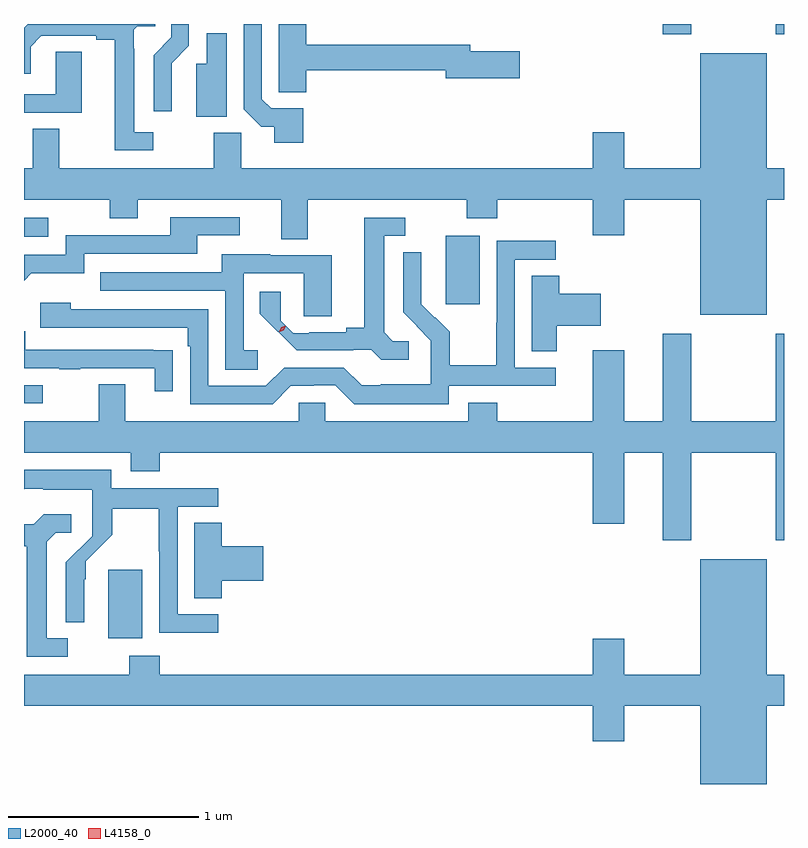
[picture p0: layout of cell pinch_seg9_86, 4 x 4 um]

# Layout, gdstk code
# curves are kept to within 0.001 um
import gdstk
lib = gdstk.Library(unit=1e-6, precision=1e-09)
def R(c, l, rs):  # rectangles x0, y0, x1, y1
    for r in rs: c.add(gdstk.rectangle(r[:2], r[2:], *l))
def P(c, l, *ps):  # polygons
    for p in ps: c.add(gdstk.Polygon(p, *l))
L2000_40 = (2000, 40)
L4158_0 = (4158, 0)

pinch_seg9_86 = lib.new_cell('pinch_seg9_86')
R(pinch_seg9_86, L2000_40, [(1145.252,1200.77,1145.431,1201.132), (1144.808,1202.007,1144.906,1202.103), (1147.028,1202.529,1147.207,1202.89), (1144.808,1202.883,1144.936,1202.985), (1148.171,1203.951,1148.319,1204.004), (1148.764,1203.951,1148.808,1204.004)])
P(pinch_seg9_86, L2000_40, [(1146.293,1203.76),(1147.028,1203.76),(1147.028,1203.718),(1147.417,1203.718),(1147.417,1203.86),(1147.156,1203.86),(1147.156,1203.896),(1146.293,1203.896),(1146.293,1204.004),(1146.149,1204.004),(1146.149,1203.754),(1146.15,1203.754),(1146.15,1203.646),(1146.293,1203.646)],
  [(1145.488,1203.435),(1145.389,1203.435),(1145.389,1203.875),(1145.385,1203.875),(1145.385,1203.975),(1145.403,1203.993),(1145.498,1203.993),(1145.498,1204.004),(1144.828,1204.004),(1144.808,1203.984),(1144.808,1203.741),(1144.843,1203.741),(1144.843,1203.885),(1144.9,1203.942),(1145.189,1203.942),(1145.189,1203.922),(1145.285,1203.922),(1145.285,1203.339),(1145.488,1203.339)],
  [(1146.278,1203.561),(1146.108,1203.561),(1146.06,1203.609),(1146.06,1204.004),(1145.964,1204.004),(1145.964,1203.555),(1146.057,1203.463),(1146.125,1203.463),(1146.125,1203.378),(1146.278,1203.378)],
  [(1145.586,1203.692),(1145.585,1203.692),(1145.585,1203.798),(1145.676,1203.89),(1145.676,1204.004),(1145.583,1204.004),(1145.583,1203.933),(1145.49,1203.84),(1145.49,1203.546),(1145.586,1203.546)],
  [(1145.875,1203.955),(1145.771,1203.955),(1145.771,1203.795),(1145.714,1203.795),(1145.714,1203.517),(1145.875,1203.517)],
  [(1145.113,1203.857),(1144.974,1203.857),(1144.974,1203.633),(1144.808,1203.633),(1144.808,1203.537),(1145.113,1203.537)],
  [(1148.716,1203.08),(1148.808,1203.08),(1148.808,1203.244),(1148.716,1203.244),(1148.716,1203.85),(1148.366,1203.85),(1148.366,1203.244),(1147.966,1203.244),(1147.966,1203.433),(1147.802,1203.433),(1147.802,1203.244),(1145.952,1203.244),(1145.952,1203.432),(1145.806,1203.432),(1145.806,1203.244),(1144.993,1203.244),(1144.993,1203.452),(1144.853,1203.452),(1144.853,1203.244),(1144.808,1203.244),(1144.808,1203.08),(1145.26,1203.08),(1145.26,1202.981),(1145.407,1202.981),(1145.407,1203.08),(1146.161,1203.08),(1146.161,1202.872),(1146.301,1202.872),(1146.301,1203.08),(1147.138,1203.08),(1147.138,1202.981),(1147.298,1202.981),(1147.298,1203.08),(1147.802,1203.08),(1147.802,1202.892),(1147.966,1202.892),(1147.966,1203.08),(1148.366,1203.08),(1148.366,1202.474),(1148.716,1202.474)],
  [(1144.847,1202.693),(1145.124,1202.693),(1145.124,1202.796),(1145.719,1202.796),(1145.719,1202.892),(1145.944,1202.892),(1145.944,1202.988),(1145.579,1202.988),(1145.579,1202.892),(1145.028,1202.892),(1145.028,1202.79),(1144.808,1202.79),(1144.808,1202.654)],
  [(1146.832,1202.334),(1146.75,1202.334),(1146.703,1202.381),(1146.703,1202.889),(1146.814,1202.889),(1146.814,1202.985),(1146.599,1202.985),(1146.599,1202.405),(1146.503,1202.405),(1146.503,1202.382),(1146.31,1202.382),(1146.31,1202.376),(1146.225,1202.376),(1146.159,1202.442),(1146.159,1202.596),(1146.049,1202.596),(1146.049,1202.48),(1146.243,1202.286),(1146.542,1202.286),(1146.542,1202.289),(1146.636,1202.289),(1146.688,1202.237),(1146.832,1202.237)],
  [(1147.044,1202.1),(1147.606,1202.1),(1147.606,1202.196),(1147.392,1202.196),(1147.392,1202.763),(1147.606,1202.763),(1147.606,1202.862),(1147.296,1202.862),(1147.296,1202.432),(1147.294,1202.432),(1147.294,1202.209),(1147.049,1202.209),(1147.049,1202.383),(1146.972,1202.46),(1146.969,1202.457),(1146.899,1202.528),(1146.9,1202.804),(1146.804,1202.804),(1146.804,1202.486),(1146.95,1202.338),(1146.95,1202.241),(1146.948,1202.241),(1146.948,1202.107),(1146.685,1202.107),(1146.685,1202.103),(1146.585,1202.103),(1146.492,1202.196),(1146.177,1202.196),(1146.081,1202.1),(1145.778,1202.1),(1145.778,1202.502),(1145.054,1202.502),(1145.054,1202.536),(1144.893,1202.536),(1144.893,1202.406),(1145.669,1202.406),(1145.669,1202.309),(1145.682,1202.309),(1145.682,1202.004),(1146.117,1202.004),(1146.213,1202.1),(1146.332,1202.1),(1146.332,1202.103),(1146.447,1202.103),(1146.547,1202.003),(1147.044,1202.003)],
  [(1146.037,1202.286),(1145.964,1202.286),(1145.964,1202.691),(1146.281,1202.691),(1146.281,1202.467),(1146.427,1202.467),(1146.427,1202.787),(1146.103,1202.787),(1146.103,1202.791),(1145.849,1202.791),(1145.849,1202.697),(1145.209,1202.697),(1145.209,1202.601),(1145.868,1202.601),(1145.868,1202.185),(1146.037,1202.185)],
  [(1147.612,1202.417),(1147.843,1202.417),(1147.843,1202.583),(1147.625,1202.583),(1147.625,1202.678),(1147.481,1202.678),(1147.481,1202.281),(1147.612,1202.281)],
  [(1145.591,1202.288),(1145.489,1202.288),(1145.489,1202.289),(1144.814,1202.289),(1144.814,1202.386),(1144.808,1202.386),(1144.808,1202.193),(1144.993,1202.193),(1144.993,1202.188),(1145.105,1202.188),(1145.105,1202.193),(1145.495,1202.193),(1145.495,1202.07),(1145.591,1202.07)],
  [(1148.319,1201.748),(1148.764,1201.748),(1148.764,1201.287),(1148.808,1201.287),(1148.808,1202.374),(1148.764,1202.374),(1148.764,1201.912),(1148.319,1201.912),(1148.319,1202.374),(1148.171,1202.374),(1148.171,1201.912),(1147.966,1201.912),(1147.966,1202.287),(1147.802,1202.287),(1147.802,1201.912),(1147.298,1201.912),(1147.298,1202.011),(1147.145,1202.011),(1147.145,1201.912),(1146.393,1201.912),(1146.393,1202.01),(1146.255,1202.01),(1146.255,1201.912),(1145.341,1201.912),(1145.341,1202.107),(1145.201,1202.107),(1145.201,1201.912),(1144.808,1201.912),(1144.808,1201.748),(1145.369,1201.748),(1145.369,1201.649),(1145.522,1201.649),(1145.522,1201.748),(1147.802,1201.748),(1147.802,1201.374),(1147.966,1201.374),(1147.966,1201.748),(1148.171,1201.748),(1148.171,1201.287),(1148.319,1201.287)],
  [(1145.83,1200.897),(1145.616,1200.897),(1145.616,1201.464),(1145.83,1201.464),(1145.83,1201.56),(1145.268,1201.56),(1145.268,1201.657),(1144.808,1201.657),(1144.808,1201.556),(1144.909,1201.557),(1144.909,1201.553),(1145.167,1201.553),(1145.167,1201.309),(1145.028,1201.17),(1145.028,1200.856),(1145.124,1200.856),(1145.124,1201.082),(1145.133,1201.082),(1145.133,1201.177),(1145.273,1201.317),(1145.273,1201.452),(1145.518,1201.452),(1145.518,1201.228),(1145.52,1201.228),(1145.52,1200.799),(1145.83,1200.799)],
  [(1145.038,1200.771),(1144.927,1200.771),(1144.927,1201.279),(1144.974,1201.326),(1145.056,1201.326),(1145.056,1201.423),(1144.912,1201.423),(1144.86,1201.371),(1144.808,1201.371),(1144.808,1201.256),(1144.823,1201.256),(1144.823,1200.675),(1145.038,1200.675)],
  [(1145.849,1201.073),(1146.067,1201.073),(1146.067,1201.256),(1145.849,1201.256),(1145.849,1201.379),(1145.705,1201.379),(1145.705,1200.982),(1145.849,1200.982)],
  [(1148.716,1200.416),(1148.808,1200.416),(1148.808,1200.58),(1148.716,1200.58),(1148.716,1201.186),(1148.366,1201.186),(1148.366,1200.58),(1147.966,1200.58),(1147.966,1200.769),(1147.802,1200.769),(1147.802,1200.58),(1145.522,1200.58),(1145.522,1200.679),(1145.362,1200.679),(1145.362,1200.58),(1144.808,1200.58),(1144.808,1200.416),(1147.802,1200.416),(1147.802,1200.228),(1147.966,1200.228),(1147.966,1200.416),(1148.366,1200.416),(1148.366,1200.004),(1148.716,1200.004)])
P(pinch_seg9_86, L4158_0, [(1146.152,1202.385),(1146.152,1202.386),(1146.162,1202.408),(1146.185,1202.416),(1146.186,1202.416),(1146.186,1202.416),(1146.176,1202.393),(1146.153,1202.385)])

lib.write_gds('pinch_seg9_86.gds')
